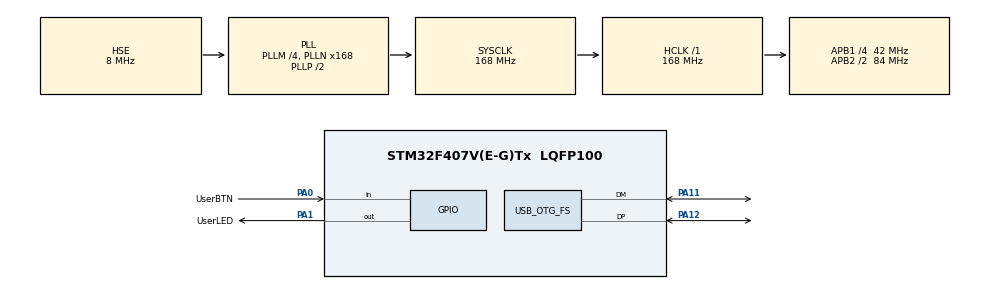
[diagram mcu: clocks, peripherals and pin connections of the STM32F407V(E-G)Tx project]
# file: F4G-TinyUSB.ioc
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Mcu.Family=STM32F4
Mcu.Name=STM32F407V(E-G)Tx
Mcu.Package=LQFP100
NVIC.OTG_FS_IRQn=true\:0\:0\:false\:false\:true\:true\:true\:true
NVIC.PriorityGroup=NVIC_PRIORITYGROUP_4
PA0-WKUP.GPIO_Label=UserBTN
PA0-WKUP.GPIO_PuPd=GPIO_PULLDOWN
PA0-WKUP.Signal=GPIO_Input
PA1.GPIO_Label=UserLED
PA1.Signal=GPIO_Output
PA11.Mode=Device_Only
PA11.Signal=USB_OTG_FS_DM
PA12.Mode=Device_Only
PA12.Signal=USB_OTG_FS_DP
PH0-OSC_IN.Mode=HSE-External-Oscillator
PH0-OSC_IN.Signal=RCC_OSC_IN
PH1-OSC_OUT.Mode=HSE-External-Oscillator
PH1-OSC_OUT.Signal=RCC_OSC_OUT
ProjectManager.HeapSize=0x200
ProjectManager.StackSize=0x400
ProjectManager.TargetToolchain=STM32CubeIDE
RCC.48MHZClocksFreq_Value=48000000
RCC.AHBFreq_Value=168000000
RCC.APB1CLKDivider=RCC_HCLK_DIV4
RCC.APB1Freq_Value=42000000
RCC.APB1TimFreq_Value=84000000
RCC.APB2CLKDivider=RCC_HCLK_DIV2
RCC.APB2Freq_Value=84000000
RCC.APB2TimFreq_Value=168000000
RCC.CortexFreq_Value=168000000
RCC.HCLKFreq_Value=168000000
RCC.HSE_VALUE=8000000
RCC.HSI_VALUE=16000000
RCC.LSE_VALUE=32768
RCC.PLLM=4
RCC.PLLN=168
RCC.PLLQ=7
RCC.SYSCLKFreq_VALUE=168000000
RCC.SYSCLKSource=RCC_SYSCLKSOURCE_PLLCLK
RCC.VCOOutputFreq_Value=336000000
USB_OTG_FS.Sof_enable=ENABLE
USB_OTG_FS.VirtualMode=Device_Only
USB_OTG_FS.lpm_enable=DISABLE
board=custom

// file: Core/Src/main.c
/* USER CODE BEGIN Header */
/**
 ******************************************************************************
 * @file           : main.c
 * @brief          : Main program body
 ******************************************************************************
 * @attention
 *
 * Copyright (c) 2025 STMicroelectronics.
 * All rights reserved.
 *
 * This software is licensed under terms that can be found in the LICENSE file
 * in the root directory of this software component.
 * If no LICENSE file comes with this software, it is provided AS-IS.
 *
 ******************************************************************************
 */
/* USER CODE END Header */
#include "main.h"

/* USER CODE BEGIN Includes */
//#include "bsp/board_api.h"
#include "tusb.h"

#include "tusb_config.h"
#include "tusb_family.h"
#include "usb_descriptors.h"
#include <ctype.h>
#include <string.h>
/* USER CODE END Includes */

PCD_HandleTypeDef hpcd_USB_OTG_FS;

/* USER CODE BEGIN PV */
char text[64] = "Muhammad Fikri Rizal Al - Amin";
uint8_t const conv_table[128][2] =  { HID_ASCII_TO_KEYCODE };
/* USER CODE END PV */

void SystemClock_Config(void);
static void MX_GPIO_Init(void);
static void MX_USB_OTG_FS_PCD_Init(void);

/* USER CODE BEGIN 0 */

/* Blink pattern
 * - 250 ms  : device not mounted
 * - 1000 ms : device mounted
 * - 2500 ms : device is suspended
 */
enum {
	BLINK_NOT_MOUNTED = 250, BLINK_MOUNTED = 1000, BLINK_SUSPENDED = 2500,
};

static uint32_t blink_interval_ms = BLINK_NOT_MOUNTED;

static void led_blinking_task(void);
static void cdc_task(void);
void hid_task(void);
/* USER CODE END 0 */

int main(void)
{

  /* MCU Configuration--------------------------------------------------------*/

  /* Reset of all peripherals, Initializes the Flash interface and the Systick. */
  HAL_Init();

  /* Configure the system clock */
  SystemClock_Config();

  /* Initialize all configured peripherals */
  MX_GPIO_Init();
  MX_USB_OTG_FS_PCD_Init();
  /* USER CODE BEGIN 2 */
	board_led_write(false);
	tusb_rhport_init_t dev_init = {
			.role = TUSB_ROLE_DEVICE,
			.speed = TUSB_SPEED_AUTO };
	tusb_init(BOARD_TUD_RHPORT, &dev_init);
  /* USER CODE END 2 */

  /* Infinite loop */
	while (1) {

    /* USER CODE BEGIN 3 */
		tud_task(); // tinyusb device task
		cdc_task();
		hid_task();
		led_blinking_task();
	}
  /* USER CODE END 3 */
}

void SystemClock_Config(void)
{
  RCC_OscInitTypeDef RCC_OscInitStruct = {0};
  RCC_ClkInitTypeDef RCC_ClkInitStruct = {0};

  /** Configure the main internal regulator output voltage
  */
  __HAL_RCC_PWR_CLK_ENABLE();
  __HAL_PWR_VOLTAGESCALING_CONFIG(PWR_REGULATOR_VOLTAGE_SCALE1);

  /** Initializes the RCC Oscillators according to the specified parameters
  * in the RCC_OscInitTypeDef structure.
  */
  RCC_OscInitStruct.OscillatorType = RCC_OSCILLATORTYPE_HSE;
  RCC_OscInitStruct.HSEState = RCC_HSE_ON;
  RCC_OscInitStruct.PLL.PLLState = RCC_PLL_ON;
  RCC_OscInitStruct.PLL.PLLSource = RCC_PLLSOURCE_HSE;
  RCC_OscInitStruct.PLL.PLLM = 4;
  RCC_OscInitStruct.PLL.PLLN = 168;
  RCC_OscInitStruct.PLL.PLLP = RCC_PLLP_DIV2;
  RCC_OscInitStruct.PLL.PLLQ = 7;
  if (HAL_RCC_OscConfig(&RCC_OscInitStruct) != HAL_OK)
  {
    Error_Handler();
  }

  /** Initializes the CPU, AHB and APB buses clocks
  */
  RCC_ClkInitStruct.ClockType = RCC_CLOCKTYPE_HCLK|RCC_CLOCKTYPE_SYSCLK
                              |RCC_CLOCKTYPE_PCLK1|RCC_CLOCKTYPE_PCLK2;
  RCC_ClkInitStruct.SYSCLKSource = RCC_SYSCLKSOURCE_PLLCLK;
  RCC_ClkInitStruct.AHBCLKDivider = RCC_SYSCLK_DIV1;
  RCC_ClkInitStruct.APB1CLKDivider = RCC_HCLK_DIV4;
  RCC_ClkInitStruct.APB2CLKDivider = RCC_HCLK_DIV2;

  if (HAL_RCC_ClockConfig(&RCC_ClkInitStruct, FLASH_LATENCY_5) != HAL_OK)
  {
    Error_Handler();
  }
}

static void MX_USB_OTG_FS_PCD_Init(void)
{

  hpcd_USB_OTG_FS.Instance = USB_OTG_FS;
  hpcd_USB_OTG_FS.Init.dev_endpoints = 4;
  hpcd_USB_OTG_FS.Init.speed = PCD_SPEED_FULL;
  hpcd_USB_OTG_FS.Init.dma_enable = DISABLE;
  hpcd_USB_OTG_FS.Init.phy_itface = PCD_PHY_EMBEDDED;
  hpcd_USB_OTG_FS.Init.Sof_enable = ENABLE;
  hpcd_USB_OTG_FS.Init.low_power_enable = DISABLE;
  hpcd_USB_OTG_FS.Init.lpm_enable = DISABLE;
  hpcd_USB_OTG_FS.Init.vbus_sensing_enable = DISABLE;
  hpcd_USB_OTG_FS.Init.use_dedicated_ep1 = DISABLE;
  if (HAL_PCD_Init(&hpcd_USB_OTG_FS) != HAL_OK)
  {
    Error_Handler();
  }

}

static void MX_GPIO_Init(void)
{
  GPIO_InitTypeDef GPIO_InitStruct = {0};

  /* GPIO Ports Clock Enable */
  __HAL_RCC_GPIOH_CLK_ENABLE();
  __HAL_RCC_GPIOA_CLK_ENABLE();

  /*Configure GPIO pin Output Level */
  HAL_GPIO_WritePin(UserLED_GPIO_Port, UserLED_Pin, GPIO_PIN_RESET);

  /*Configure GPIO pin : UserBTN_Pin */
  GPIO_InitStruct.Pin = UserBTN_Pin;
  GPIO_InitStruct.Mode = GPIO_MODE_INPUT;
  GPIO_InitStruct.Pull = GPIO_PULLDOWN;
  HAL_GPIO_Init(UserBTN_GPIO_Port, &GPIO_InitStruct);

  /*Configure GPIO pin : UserLED_Pin */
  GPIO_InitStruct.Pin = UserLED_Pin;
  GPIO_InitStruct.Mode = GPIO_MODE_OUTPUT_PP;
  GPIO_InitStruct.Pull = GPIO_NOPULL;
  GPIO_InitStruct.Speed = GPIO_SPEED_FREQ_LOW;
  HAL_GPIO_Init(UserLED_GPIO_Port, &GPIO_InitStruct);

}

/* USER CODE BEGIN 4 */
// echo to either Serial0 or Serial1
// with Serial0 as all lower case, Serial1 as all upper case
static void echo_serial_port(uint8_t itf, uint8_t buf[], uint32_t count) {
	uint8_t const case_diff = 'a' - 'A';

	for (uint32_t i = 0; i < count; i++) {
		if (itf == 0) {
			// echo back 1st port as lower case
			if (isupper(buf[i]))
				buf[i] += case_diff;
		} else {
			// echo back 2nd port as upper case
			if (islower(buf[i]))
				buf[i] -= case_diff;
		}

		tud_cdc_n_write_char(itf, buf[i]);
	}
	tud_cdc_n_write_flush(itf);
}

// Invoked when device is mounted
void tud_mount_cb(void) {
	blink_interval_ms = BLINK_MOUNTED;
}

// Invoked when device is unmounted
void tud_umount_cb(void) {
	blink_interval_ms = BLINK_NOT_MOUNTED;
}

//--------------------------------------------------------------------+
// USB CDC
//--------------------------------------------------------------------+
static void cdc_task(void) {
//	for (uint8_t itf = 0; itf < CFG_TUD_CDC; itf++) {
		// connected() check for DTR bit
		// Most but not all terminal client set this when making connection
//		 if ( tud_cdc_n_connected(ITF_NUM_CDC_0) )
		{
			if (tud_cdc_n_available(0)) {
				uint8_t buf[64];
				uint32_t count = tud_cdc_n_read(0, buf, sizeof(buf));

				// echo back to both serial ports
				echo_serial_port(0, buf, count);
//				echo_serial_port(1, buf, count);
			}

			// Press on-board button to send Uart status notification
			static uint32_t btn_prev = 0;
			static cdc_notify_uart_state_t uart_state = { .value = 0 };
			const uint32_t btn = board_button_read();
			if (!btn_prev && btn) {
				uart_state.dsr ^= 1;
				tud_cdc_notify_uart_state(&uart_state);
			}
			btn_prev = btn;
		}
//	}
}

// Invoked when cdc when line state changed e.g connected/disconnected
// Use to reset to DFU when disconnect with 1200 bps
void tud_cdc_line_state_cb(uint8_t instance, bool dtr, bool rts) {
	(void) rts;
	(void) instance;
	(void) dtr;

//	// DTR = false is counted as disconnected
//	if (!dtr) {
//		// touch1200 only with first CDC instance (Serial)
//		if (instance == 0) {
//			cdc_line_coding_t coding;
//			tud_cdc_get_line_coding(&coding);
//			if (coding.bit_rate == 1200) {
//				if (board_reset_to_bootloader) {
//					board_reset_to_bootloader();
//				}
//			}
//		}
//	}
}

//--------------------------------------------------------------------+
// USB HID
//--------------------------------------------------------------------+

// Every 10ms, we will sent 1 report for each HID profile (keyboard, mouse etc ..)
// tud_hid_report_complete_cb() is used to send the next report after previous one is complete
void hid_task(void) {
	// Poll every 10ms
	const uint32_t interval_ms = 1;
	static uint32_t start_ms = 0;

	if (board_millis() - start_ms < interval_ms)
		return; // not enough time
	start_ms += interval_ms;

	uint32_t const btn = board_button_read();
//  uint8_t debug = tud_hid_n_ready(ITF_NUM_KEYBOARD);

	if (tud_suspended() && btn) {
		// Wake up host if we are in suspend mode
		// and REMOTE_WAKEUP feature is enabled by host
		tud_remote_wakeup();
	} else {
		// keyboard interface
		if (tud_hid_n_ready(0)) {
			// used to avoid send multiple consecutive zero report for keyboard
			static bool has_keyboard_key = false;
			static bool typing = false;
			static uint32_t index = 0;
			static uint32_t textLen = 0;

			uint8_t const report_id = 0;
			uint8_t modifier = 0;
			uint8_t empty_key[6] = {0};
			uint8_t keycode[6] = { 0 };

//			if (btn) {
//
//				keycode[0] = HID_KEY_ARROW_RIGHT;
//
//				tud_hid_n_keyboard_report(0, report_id, modifier, keycode);
//				has_keyboard_key = true;
//			} else {
//				// send empty key report if previously has key pressed
//				if (has_keyboard_key)
//					tud_hid_n_keyboard_report(0, report_id, modifier,
//					NULL);
//				has_keyboard_key = false;
//			}

			if (btn) {
				typing = true;
				textLen = strlen(text);
			}

			if (typing) {
				if (has_keyboard_key) {
					modifier = 0;
					tud_hid_n_keyboard_report(ITF_NUM_KEYBOARD, report_id, modifier,
							empty_key);
					has_keyboard_key = false;
				} else {
					modifier = 0;
					uint8_t chr = text[index];

					if ( conv_table[chr][0] ) modifier = KEYBOARD_MODIFIER_LEFTSHIFT;
					keycode[0] = conv_table[chr][1];
					tud_hid_n_keyboard_report(ITF_NUM_KEYBOARD, report_id, modifier, keycode);
					has_keyboard_key = true;
					index++;
					if (index >= textLen) {
						typing = false;
						index = 0;
					}
				}
			} else {
				if (has_keyboard_key) {
					modifier = 0;
					tud_hid_n_keyboard_report(ITF_NUM_KEYBOARD, report_id, modifier,
							empty_key);
				}
				has_keyboard_key = false;
			}
		}
	}
}

// Invoked when received SET_PROTOCOL request
// protocol is either HID_PROTOCOL_BOOT (0) or HID_PROTOCOL_REPORT (1)
void tud_hid_set_protocol_cb(uint8_t instance, uint8_t protocol)
{
  (void) instance;
  (void) protocol;

  // nothing to do since we use the same compatible boot report for both Boot and Report mode.
  // TODO set a indicator for user
}

// Invoked when sent REPORT successfully to host
// Application can use this to send the next report
// Note: For composite reports, report[0] is report ID
void tud_hid_report_complete_cb(uint8_t instance, uint8_t const* report, uint16_t len)
{
  (void) instance;
  (void) report;
  (void) len;

  // nothing to do
}

// Invoked when received GET_REPORT control request
// Application must fill buffer report's content and return its length.
// Return zero will cause the stack to STALL request
uint16_t tud_hid_get_report_cb(uint8_t instance, uint8_t report_id, hid_report_type_t report_type, uint8_t* buffer, uint16_t reqlen)
{
  // TODO not Implemented
  (void) instance;
  (void) report_id;
  (void) report_type;
  (void) buffer;
  (void) reqlen;

  return 0;
}

// Invoked when received SET_REPORT control request or
// received data on OUT endpoint ( Report ID = 0, Type = 0 )
void tud_hid_set_report_cb(uint8_t instance, uint8_t report_id, hid_report_type_t report_type, uint8_t const* buffer, uint16_t bufsize)
{
  (void) report_id;

  // keyboard interface
//  if (instance == ITF_NUM_KEYBOARD)
	  if (instance == 0)
  {
    // Set keyboard LED e.g Capslock, Numlock etc...
    if (report_type == HID_REPORT_TYPE_OUTPUT)
    {
      // bufsize should be (at least) 1
      if ( bufsize < 1 ) return;

      uint8_t const kbd_leds = buffer[0];

      if (kbd_leds & KEYBOARD_LED_CAPSLOCK)
      {
        // Capslock On: disable blink, turn led on
        blink_interval_ms = 0;
        board_led_write(true);
      }else
      {
        // Caplocks Off: back to normal blink
        board_led_write(false);
        blink_interval_ms = BLINK_MOUNTED;
      }
    }
  }
}

//--------------------------------------------------------------------+
// BLINKING TASK
//--------------------------------------------------------------------+
void led_blinking_task(void) {
	static uint32_t start_ms = 0;
	static bool led_state = false;

	// Blink every interval ms
	if (board_millis() - start_ms < blink_interval_ms)
		return; // not enough time
	start_ms += blink_interval_ms;

	board_led_write(led_state);
	led_state = 1 - led_state; // toggle
}
/* USER CODE END 4 */

void Error_Handler(void)
{
	__disable_irq();
	while (1) {
	}
}
